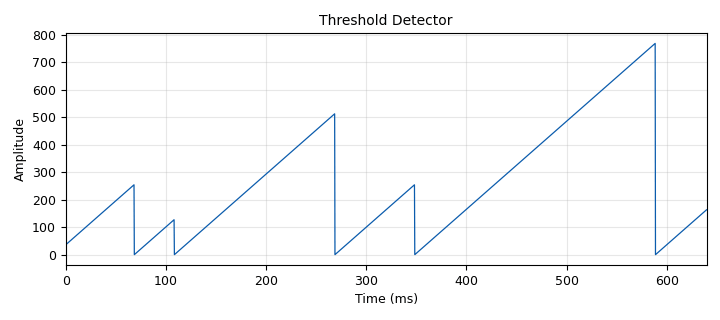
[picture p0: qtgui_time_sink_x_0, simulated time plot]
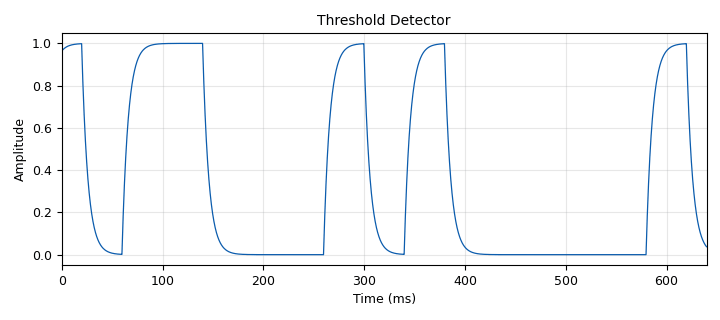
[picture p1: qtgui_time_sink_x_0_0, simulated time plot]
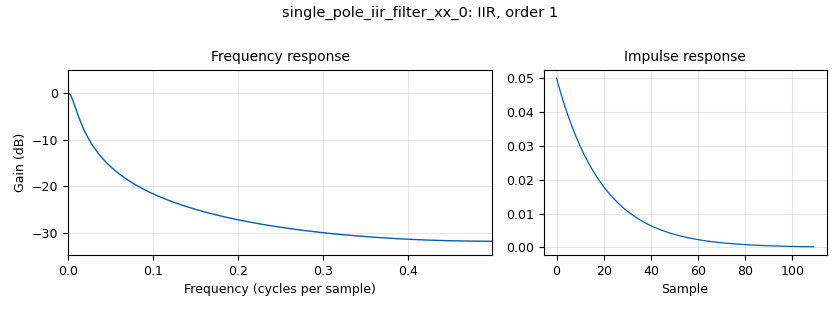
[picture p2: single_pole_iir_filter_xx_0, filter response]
options:
  parameters:
    generate_options: qt_gui
    id: python_block_tags
    output_language: python
    title: Not titled yet
  states: {}

blocks:
- name: samp_rate
  id: variable
  parameters:
    value: '3200'
  states: {}
- name: blocks_add_const_vxx_0
  id: blocks_add_const_vxx
  parameters:
    const: '.5'
    type: float
  states: {}
- name: blocks_multiply_const_vxx_0
  id: blocks_multiply_const_vxx
  parameters:
    const: '.5'
    type: float
  states: {}
- name: blocks_repeat_0
  id: blocks_repeat
  parameters:
    interp: '128'
    type: float
  states: {}
- name: blocks_throttle2_0
  id: blocks_throttle2
  parameters:
    samples_per_second: samp_rate
    type: float
  states: {}
- name: digital_glfsr_source_x_0
  id: digital_glfsr_source_x
  parameters:
    degree: '32'
    mask: '0'
    repeat: 'True'
    seed: '1'
    type: float
  states: {}
- name: epy_block_0
  id: epy_block
  parameters:
    _source_code: |
      """
      Embedded Python Blocks:

      Each time this file is saved, GRC will instantiate the first class it finds
      to get ports and parameters of your block. The arguments to __init__  will
      be the parameters. All of them are required to have default values!
      """

      from operator import index
      import numpy as np
      import pmt
      from gnuradio import gr


      class blk(gr.sync_block):  # other base classes are basic_block, decim_block, interp_block
          """Embedded Python Block example - a simple multiply const"""

          def __init__(self, threshold=1.0, report_period=128):  # only default arguments here
              """arguments to this function show up as parameters in GRC"""
              gr.sync_block.__init__(
                  self,
                  name='Threshold Detector',   # will show up in GRC
                  in_sig=[np.float32],
                  out_sig=[np.float32]
              )
              # if an attribute with the same name as a parameter is found,
              # a callback is registered (properties work, too).
              self.threshold = threshold
              self.report_period = report_period

              self.timer = 0
              self.readyForTag = True

          def work(self, input_items, output_items):
              # Remember that input_items[0] accesses port 0 of the block.
              # input_items[0][0] accesses the first sample of port 0. So this
              # loop is using index to access each sample going through port 0 input port.
              # The amplitude of the sample is the only value stored by a sample.

              for index in range(len(input_items[0])):
                  if (input_items[0][index] >= self.threshold and self.readyForTag == True):
                      # define the key as 'detect'
                      key = pmt.intern('detect')
                      # get the detection value
                      value = pmt.from_float(np.round(float(input_items[0][index]),2))
                      # tag index to be written
                      writeIndex = self.nitems_written(0) + index
                      # add the tag object (key, value pair)
                      self.add_item_tag(0, writeIndex, key, value)
                      # the tag has been written, set the state
                      self.readyForTag = False

                  # increase the timer by 1
                  if (self.readyForTag == False):
                      self.timer = self.timer + 1

                  # set the flag to write
                  if (self.timer >= self.report_period):
                      # reset timer
                      self.timer = 0
                      # reset readyForTag state
                      self.readyForTag = True

              output_items[0][:] = input_items[0]
              return len(output_items[0])
    report_period: '128'
    threshold: '.75'
  states: {}
- name: epy_block_1
  id: epy_block
  parameters:
    _source_code: |
      """
      Embedded Python Blocks:

      Each time this file is saved, GRC will instantiate the first class it finds
      to get ports and parameters of your block. The arguments to __init__  will
      be the parameters. All of them are required to have default values!
      """

      import numpy as np
      from gnuradio import gr
      import pmt


      class blk(gr.sync_block):  # other base classes are basic_block, decim_block, interp_block
          """Embedded Python Block example - a simple multiply const"""

          def __init__(self):  # only default arguments here
              """arguments to this function show up as parameters in GRC"""
              gr.sync_block.__init__(
                  self,
                  name='Detection Counter',   # will show up in GRC
                  in_sig=[np.float32],
                  out_sig=[np.float32]
              )
              # if an attribute with the same name as a parameter is found,
              # a callback is registered (properties work, too).
              self.samplesSinceDetection = 0

          def work(self, input_items, output_items):
              # get all tags associated with input_items[0]
              tagTuple = self.get_tags_in_window(0, 0, len(input_items[0]))

              # declare a list
              relativeOffsetList = []
              # loop through all 'detect' tags and store their relative offset
              for tag in tagTuple:
                  if (pmt.to_python(tag.key) == 'detect'):
                      relativeOffsetList.append(tag.offset - self.nitems_read(0))
              
              # sort the list of relative offsets lowest to highest
              relativeOffsetList.sort()

              # loop through all output samples
              for index in range(len(output_items[0])):
                  # output is now samples since last detect tag
                  output_items[0][index] = self.samplesSinceDetection
                  # make sure the list is not empty, and if the current input sample
                  # is greater than or equal to the next 
                  if (len(relativeOffsetList) > 0 and index >= relativeOffsetList[0]):
                      # clear the offset
                      relativeOffsetList.pop(0)
                      # reset the output counter
                      self.samplesSinceDetection = 0
                  else:
                      # a detect tag has not been seen, so continue to increase
                      # the output counter
                      self.samplesSinceDetection += 1

              return len(output_items[0])
  states: {}
- name: qtgui_time_sink_x_0
  id: qtgui_time_sink_x
  parameters:
    autoscale: 'True'
    ctrlpanel: 'True'
    name: '"Threshold Detector"'
    size: '2048'
    srate: samp_rate
    type: float
  states: {}
- name: qtgui_time_sink_x_0_0
  id: qtgui_time_sink_x
  parameters:
    autoscale: 'True'
    ctrlpanel: 'True'
    name: '"Threshold Detector"'
    size: '2048'
    srate: samp_rate
    type: float
  states: {}
- name: single_pole_iir_filter_xx_0
  id: single_pole_iir_filter_xx
  parameters:
    alpha: '.05'
    type: float
  states: {}
- name: virtual_sink_0
  id: virtual_sink
  parameters:
    stream_id: message
  states: {}
- name: virtual_source_0
  id: virtual_source
  parameters:
    stream_id: message
  states: {}

connections:
- [blocks_add_const_vxx_0, '0', single_pole_iir_filter_xx_0, '0']
- [blocks_multiply_const_vxx_0, '0', blocks_add_const_vxx_0, '0']
- [blocks_repeat_0, '0', blocks_multiply_const_vxx_0, '0']
- [blocks_throttle2_0, '0', virtual_sink_0, '0']
- [digital_glfsr_source_x_0, '0', blocks_repeat_0, '0']
- [epy_block_0, '0', epy_block_1, '0']
- [epy_block_0, '0', qtgui_time_sink_x_0_0, '0']
- [epy_block_1, '0', qtgui_time_sink_x_0, '0']
- [single_pole_iir_filter_xx_0, '0', blocks_throttle2_0, '0']
- [virtual_source_0, '0', epy_block_0, '0']

metadata:
  file_format: 1
  grc_version: 3.10.6.0
